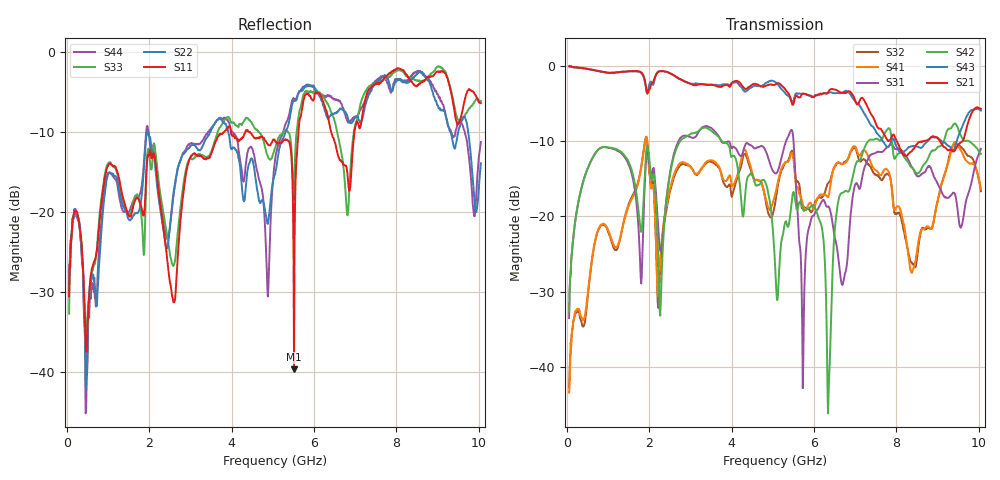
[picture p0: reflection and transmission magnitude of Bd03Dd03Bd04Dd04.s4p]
!  COPYRIGHT, TYCO ELECTRONICS  !
!  ALL INTERNATIONAL RIGHTS RESERVED  !
!! These models are covered by a licensing agreement that restricts  !
!! their use and distribution.  If you have questions about the  !
!! restrictions, contact the appropriate organization within  !
!! your company  !
! THESE MODELS REPRESENT TEC/AMP CONNECTORS ONLY. DUE TO INTERNAL  !
! DESIGN AND MATERIALS, THEY SHOULD NOT BE USED FOR PRODUCTS  !
! MANUFACTURED BY COMPANIES OTHER THAN AMP.  !
! CHECK WITH TEC/AMP FOR THE MOST CURRENT MODEL SET  !
! FOR MORE INFORMATION, EMAIL: modeling@tycoelectronics.com  !
!  URL:  http://www.amp.com/simulation/  !
! PRODUCT INFORMATION CENTER:  1-800-522-6752  !
! Each file is named 'Port1Port2Port3Port4.s4p', where port 1 and  !
! port 3 are input ports and port 2 and port 4 are output ports.  !
! For example, Ba05Da05Bb05Db05.s4p would have port 1 at backplane (B) a5 !
! port 2 at daughtercard (D) a5, port 3 at backplane (B) b5,  !
! and port 4 at daughtercard (D) b5.  !
! Keep in mind that each file is the throughput for  !
! footprint-connector-footprint.  Test board traces are calibrated out,  !
! but the s-parameters include a signal path that goes through the  !
! connector footprint in a given thickness board, the connector itself,  !
! and the connector footprint in a second board.  !
! A zero Hertz interpolation data point has been added for convenience.  !
! Connector: Z-DOK, 0.050" PITCH,  4 ROW, RIGHT ANGLE PLUG TO RIGHT ANGLE RECEPTACLE
! Pins  : D3D4
! Board  : 0.093" Thick FR4
! Filename : BD03DD03BD04DD04.s4p
! Rev Date : 9/15/02
! Status  : VALIDATED MEASURED MODEL
! Structure: 4 Port S-parameter
! Rating  : 50 MHz to 10.05 GHz
! Transform Limits : 50 ps Min. Time Resolution 1/(2*MaxFreq)
# HZ  S  MA R  50
! FREQ  S11  S12  S13  S14
!  S21  S22  S23  S24
!  S31  S32  S33  S34
!  S41  S42  S43  S44
!  MAG  ANG  MAG  ANG  MAG  ANG  MAG  ANG
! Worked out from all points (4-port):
!   801 points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, 50 MHz to 10.05 GHz, reference 50 ohm
!   strongest paths, dB at 50 MHz, 2.55 GHz, 5.05 GHz, 7.55 GHz, 10.05 GHz:
!     S21: 0.0, -1.1, -2.5, -8.2, -5.7
!     S43: 0.0, -1.1, -2.1, -9.1, -5.9
!     S42: -32.7, -13.0, -26.3, -9.7, -11.7
!     S31: -33.5, -12.8, -14.3, -11.4, -11.0
!     S41: -43.4, -15.3, -17.2, -14.1, -16.3
!     S32: -42.7, -15.7, -18.4, -14.5, -16.6
!   lowest |S11| = -39.7 dB at 5.513 GHz (marker M1), VSWR 1.02, Z = 50.5 - j0.909 ohm
!   |S11| at or under -10 dB: start of sweep to 3.804 GHz; 4.444 GHz to 5.62 GHz (1.176 GHz wide, 23.4 % of centre); 6.417 GHz to 6.98 GHz (563.4 MHz wide, 8.41 % of centre)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
5e7  0.0297 65.3  0.9921 -4.4  0.02418 82.9  0.007735 -96.9
     0.9986 -4.1  0.03905 81.0  0.006478 -67.1  0.02497 84.9
     0.02111 84.8  0.007348 -110.4  0.0231 60.8  0.9965 -4.7
     0.006756 -104.9  0.0231 82.3  0.9945 -4.3  0.03257 55.4
1.75e9  0.1188 -146.9  0.9216 -166.1  0.06998 -114.6  0.1779 97.0
        0.923 -166.2  0.1023 -27.4  0.1811 95.0  0.09858 -51.2
        0.07072 -114.7  0.1814 94.9  0.1208 -133.9  0.9149 -169.0
        0.1779 97.1  0.09865 -51.5  0.916 -168.9  0.1261 -42.7
3.85e9  0.3244 -78.9  0.7468 13.7  0.3097 -83.6  0.1718 -139.4
        0.7459 13.4  0.3568 -102.0  0.1594 -146.8  0.3103 -94.4
        0.3099 -83.9  0.1593 -146.4  0.3818 -87.7  0.7573 6.4
        0.172 -139.8  0.3112 -94.6  0.7562 6.2  0.3886 -99.3
5.5125e9  0.01037 -60.2  0.5826 -139.2  0.2755 113.9  0.2219 37.0
          0.578 -139.4  0.5016 -68.8  0.2315 37.5  0.1434 -103.6
          0.2798 113.5  0.2315 37.7  0.1387 -87.0  0.6129 -147.5
          0.2224 36.7  0.1429 -103.6  0.6088 -147.6  0.5126 -77.1
6.3625e9  0.3619 -128.7  0.6844 147.5  0.1154 124.0  0.1414 24.9
          0.6852 147.4  0.3917 -115.0  0.169 16.7  0.008277 -95.1
          0.1151 124.0  0.1694 16.9  0.4568 -140.2  0.6668 133.6
          0.1406 24.5  0.008303 -94.9  0.6673 133.2  0.5389 -125.8
7.2875e9  0.5586 -59.8  0.5442 36.9  0.2339 -141.9  0.2595 -110.3
          0.5438 36.8  0.5099 -81.2  0.2269 -112.7  0.3104 -153.7
          0.2337 -141.7  0.227 -112.6  0.5955 -83.4  0.451 25.4
          0.2602 -110.3  0.3107 -153.7  0.4506 25.3  0.5292 -97.0
1.005e10  0.4831 -140.7  0.5221 -161.1  0.2828 54.5  0.1527 -22.2
          0.5201 -161.7  0.2022 -51.0  0.1458 -26.1  0.2595 142.2
          0.2815 54.2  0.1473 -25.1  0.4969 -153.9  0.5067 176.7
          0.1526 -23.0  0.2607 141.3  0.5062 175.8  0.2747 -72.2
